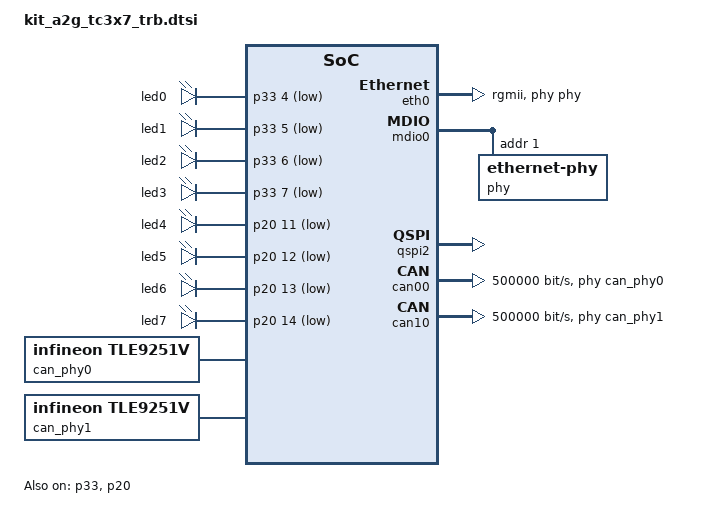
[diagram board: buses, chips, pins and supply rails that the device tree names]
/*
 * Copyright (c) 2024 Infineon Technologies AG
 *
 * SPDX-License-Identifier: Apache-2.0
 */
#include "kit_a2g_tc3x7_trb-pinctrl.dtsi"

/ {
	leds: leds {
		compatible = "gpio-leds";
		led0: led_0 {
			gpios = <&p33 4 GPIO_ACTIVE_LOW>;
		};
		led1: led_1 {
			gpios = <&p33 5 GPIO_ACTIVE_LOW>;
		};
		led2: led_2 {
			gpios = <&p33 6 GPIO_ACTIVE_LOW>;
		};
		led3: led_3 {
			gpios = <&p33 7 GPIO_ACTIVE_LOW>;
		};
		led4: led_4 {
			gpios = <&p20 11 GPIO_ACTIVE_LOW>;
		};
		led5: led_5 {
			gpios = <&p20 12 GPIO_ACTIVE_LOW>;
		};
		led6: led_6 {
			gpios = <&p20 13 GPIO_ACTIVE_LOW>;
		};
		led7: led_7 {
			gpios = <&p20 14 GPIO_ACTIVE_LOW>;
		};
	};

	aliases {
		led0 = &led0;
	};

	can_phy0: can-phy0 {
		compatible = "infineon,tle9251v", "can-transceiver-gpio";
		max-bitrate = <5000000>;
		#phy-cells = <0>;
	};

	can_phy1: can-phy1 {
		compatible = "infineon,tle9251v", "can-transceiver-gpio";
		max-bitrate = <5000000>;
		#phy-cells = <0>;
	};
};

&fosc {
	clock-frequency = <DT_FREQ_M(20)>;
	status = "okay";
};

&p33 {
	status = "okay";
};

&p20 {
	status = "okay";
};

&asclin0 {
	compatible = "infineon,asclin-uart";
	pinctrl-0 = <&uart0_default>;
	pinctrl-names = "default";
};

&eth0 {
	pinctrl-0 = <&eth0_rgmii_default>;
	pinctrl-names = "default";
	phy-connection-type = "rgmii";
	phy-handle = <&phy>;
};

&mdio0 {
	pinctrl-0 = <&eth0_mdio_default>;
	pinctrl-names = "default";

	phy: ethernet-phy@1 {
		compatible = "ethernet-phy";
		reg = <1>;
	};
};

qspi2: &qspi2 {
	pinctrl-0 = <&qspi2_pin>;
	pinctrl-names = "default";
	max_clock_frequency = <50000000>;
	status = "okay";
};

&can00 {
	bitrate = <500000>;
	bitrate-data = <2000000>;
	pinctrl-0 = <&can0_default>;
	pinctrl-names = "default";
	phys = <&can_phy0>;
};
&can10 {
	bitrate = <500000>;
	bitrate-data = <2000000>;
	pinctrl-0 = <&can1_default>;
	pinctrl-names = "default";
	phys = <&can_phy1>;
};
